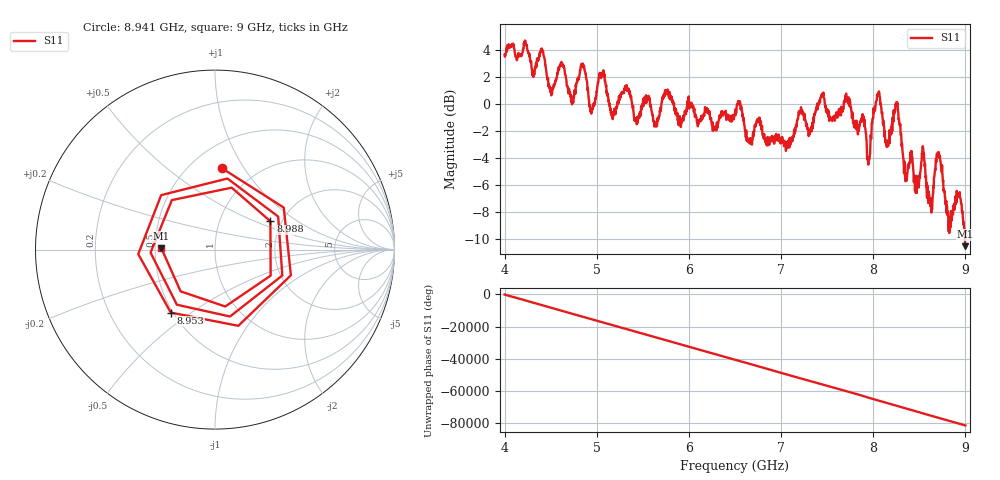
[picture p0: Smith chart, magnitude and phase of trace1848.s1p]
! Created with skrf 1.8.0 (http://scikit-rf.org).
# Hz S RI R 50.0
!freq ReS11 ImS11
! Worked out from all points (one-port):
!   1601 points, 4 GHz to 9 GHz, reference 50 ohm
!   lowest |S11| = -10.5 dB at 9 GHz (marker M1), VSWR 1.85, Z = 27 + j0.413 ohm
!   |S11| at or under -10 dB: 8.994832 GHz to end of sweep
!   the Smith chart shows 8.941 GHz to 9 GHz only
!   S11 on the Smith chart (normalised r, x): 8.941 GHz: 0.70, +0.80; 8.953 GHz: 0.49, -0.42; 8.988 GHz: 1.75, +0.63; 9 GHz: 0.54, +0.01
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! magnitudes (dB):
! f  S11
! 4 GHz  3.6
! 4.406 GHz  4.0
! 4.503 GHz  1.2
! 4.625 GHz  2.9
! 4.731 GHz  0.0
! 4.844 GHz  2.9
! 4.944 GHz  -0.3
! 5.05 GHz  2.3
! 5.162 GHz  -0.6
! 5.25 GHz  0.6
! 5.875 GHz  -0.7
! 6.5 GHz  -0.7
! 7.125 GHz  -2.7
! 7.444 GHz  0.7
! 7.75 GHz  0.1
! 7.95 GHz  -3.9
! 8.05 GHz  0.6
! 8.153 GHz  -2.9
! 8.247 GHz  0.1
! 8.375 GHz  -4.7
! 8.541 GHz  -3.3
! 8.619 GHz  -7.5
! 8.706 GHz  -3.5
! 8.822 GHz  -8.6
! 8.941 GHz  -6.8
! 8.953 GHz  -7.4
! 8.988 GHz  -9.2
! 9 GHz  -10.5
